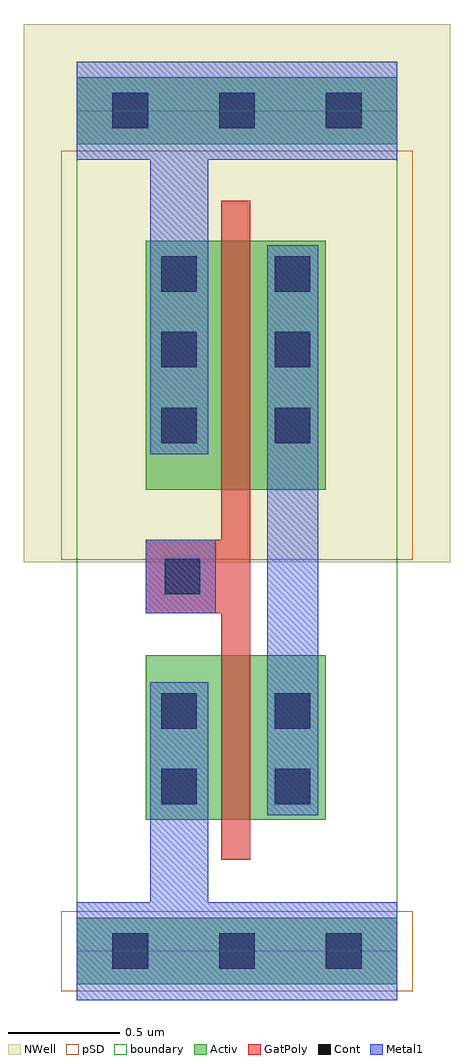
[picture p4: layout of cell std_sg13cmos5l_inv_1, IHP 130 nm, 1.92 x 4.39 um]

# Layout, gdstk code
import gdstk
lib = gdstk.Library(unit=1e-6, precision=1e-09)
def R(c, l, rs):  # rectangles x0, y0, x1, y1
    for r in rs: c.add(gdstk.rectangle(r[:2], r[2:], *l))
def A(c, l, x, y, w, h, nx, ny, dx, dy):  # array of equal rectangles
    R(c, l, [(x+i*dx, y+j*dy, x+i*dx+w, y+j*dy+h) for i in range(nx) for j in range(ny)])
def P(c, l, *ps):  # polygons
    for p in ps: c.add(gdstk.Polygon(p, *l))
Activ = (1, 0)
GatPoly = (5, 0)
Cont = (6, 0)
Metal1 = (8, 0)
pSD = (14, 0)
NWell = (31, 0)
boundary = (189, 4)

std_sg13cmos5l_inv_1 = lib.new_cell('std_sg13cmos5l_inv_1')
R(std_sg13cmos5l_inv_1, Activ, [(0,-0.15,1.44,0.15), (0.31,0.59,1.12,1.33), (0.31,2.075,1.12,3.195), (0,3.63,1.44,3.93)])
P(std_sg13cmos5l_inv_1, GatPoly, [(0.65,0.41),(0.65,1.52),(0.31,1.52),(0.31,1.85),(0.65,1.85),(0.65,3.375),(0.78,3.375),(0.78,0.41)])
A(std_sg13cmos5l_inv_1, Cont, 0.38, 2.285, 0.16, 0.16, 1, 3, 0, 0.34)
A(std_sg13cmos5l_inv_1, Cont, 0.89, 2.285, 0.16, 0.16, 1, 3, 0, 0.34)
R(std_sg13cmos5l_inv_1, Cont, [(0.16,-0.08,0.32,0.08), (0.16,-0.08,0.32,0.08), (0.64,-0.08,0.8,0.08), (0.64,-0.08,0.8,0.08), (1.12,-0.08,1.28,0.08), (1.12,-0.08,1.28,0.08), (0.38,0.66,0.54,0.82), (0.89,0.66,1.05,0.82), (0.38,1,0.54,1.16), (0.89,1,1.05,1.16), (0.395,1.605,0.555,1.765), (0.16,3.7,0.32,3.86), (0.16,3.7,0.32,3.86), (0.64,3.7,0.8,3.86), (0.64,3.7,0.8,3.86), (1.12,3.7,1.28,3.86), (1.12,3.7,1.28,3.86)])
R(std_sg13cmos5l_inv_1, Metal1, [(0.855,0.61,1.085,3.175), (0.31,1.52,0.625,1.85)])
P(std_sg13cmos5l_inv_1, Metal1, [(0,-0.22),(0,0.22),(0.33,0.22),(0.33,1.21),(0.59,1.21),(0.59,0.22),(1.44,0.22),(1.44,-0.22)],
  [(0.33,2.235),(0.33,3.56),(0,3.56),(0,4),(1.44,4),(1.44,3.56),(0.59,3.56),(0.59,2.235)])
R(std_sg13cmos5l_inv_1, pSD, [(-0.07,-0.18,1.51,0.18), (-0.07,1.76,1.51,3.6)])
R(std_sg13cmos5l_inv_1, NWell, [(-0.24,1.75,1.68,4.17)])
R(std_sg13cmos5l_inv_1, boundary, [(0,0,1.44,3.78)])

lib.write_gds('std_sg13cmos5l_inv_1.gds')
